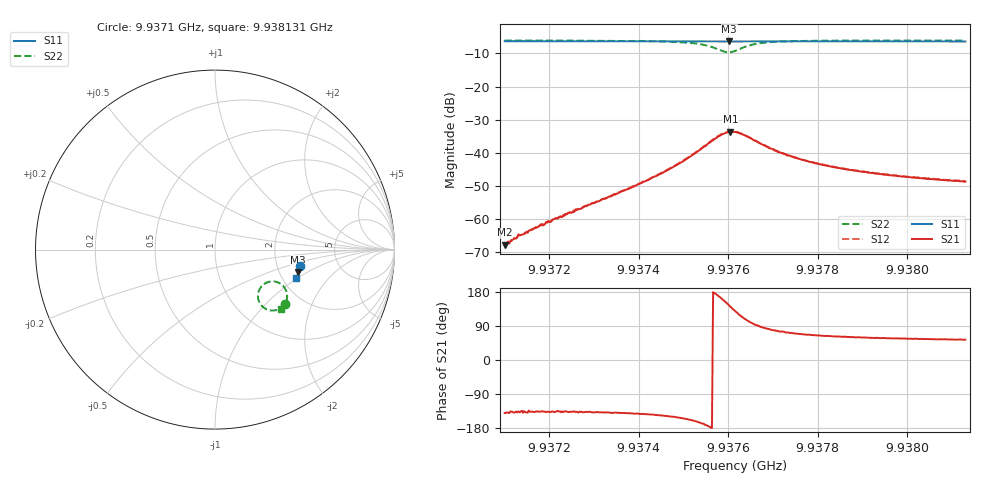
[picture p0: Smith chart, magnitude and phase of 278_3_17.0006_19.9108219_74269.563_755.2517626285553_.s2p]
#  HZ  S  RI  R  50.00
! Rohde & Schwarz Vector Network Analyzer
! Rohde-Schwarz,ZNB20-2Port,1311601062101988,3.16
! Created: UTC 3/20/2024, 11:04:35 PM
! freq[Hz]  re:S11  im:S11  re:S21  im:S21  re:S12  im:S12  re:S22  im:S22
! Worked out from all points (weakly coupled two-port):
!   401 points, 9.9371 GHz to 9.938131 GHz, reference 50 ohm
!   highest |S21| = -33.61 dB at 9.937605 GHz (marker M1); lowest = -67.8 dB at 9.9371 GHz (marker M2)
!   lowest |S11| = -6.4 dB at 9.937602 GHz (marker M3), VSWR 2.84, Z = 126 - j41.5 ohm
!   |S11| at or under -10 dB: nowhere
!   |S22| runs from -9.6 to -6.1 dB; largest |S21 - S12| = 0.00088
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9.9371e9  0.4751 -0.0941  -0.000311 -0.000266  -0.000304 -0.000245  0.3925 -0.3049
9.9371335e9  0.4744 -0.0963  -0.000431 -0.000388  -0.000437 -0.000357  0.3901 -0.3072
9.9371464e9  0.4742 -0.0973  -0.000466 -0.000425  -0.000456 -0.000405  0.3892 -0.308
9.9371593e9  0.4741 -0.098  -0.000505 -0.000483  -0.000492 -0.000482  0.3882 -0.3093
9.9371928e9  0.4733 -0.1004  -0.000667 -0.000613  -0.000642 -0.000604  0.3855 -0.3119
9.9372726e9  0.4719 -0.1058  -0.00106 -0.00101  -0.00108 -0.00101  0.3776 -0.3184
9.9373834e9  0.4695 -0.1132  -0.00232 -0.00188  -0.00239 -0.00189  0.3613 -0.3291
9.9374452e9  0.4681 -0.1174  -0.00391 -0.00265  -0.00399 -0.00263  0.345 -0.336
9.9374993e9  0.4668 -0.1212  -0.00673 -0.00327  -0.00693 -0.00325  0.3185 -0.3395
9.9375457e9  0.465 -0.1241  -0.0121 -0.00245  -0.0124 -0.00212  0.2751 -0.3257
9.9375792e9  0.4635 -0.1259  -0.0174 0.00379  -0.0177 0.00425  0.24 -0.2703
9.9375895e9  0.4633 -0.1261  -0.018 0.00734  -0.0181 0.00799  0.2408 -0.2408
9.9376024e9  0.4628 -0.1264  -0.0166 0.0122  -0.0164 0.013  0.2593 -0.2046
9.937605e9  0.4629 -0.1264  -0.0161 0.0133  -0.0159 0.0138  0.2651 -0.1986
9.9376153e9  0.463 -0.1266  -0.0133 0.0159  -0.0128 0.0165  0.2934 -0.1816
9.9376436e9  0.4634 -0.1281  -0.00414 0.017  -0.00365 0.0173  0.3645 -0.19
9.9376745e9  0.4632 -0.1303  0.00063 0.0135  0.001 0.0137  0.3951 -0.2262
9.9377286e9  0.4625 -0.1345  0.0029 0.00899  0.00303 0.00902  0.4016 -0.2675
9.9377879e9  0.461 -0.1386  0.00295 0.00656  0.00309 0.00653  0.3965 -0.2898
9.9378678e9  0.4592 -0.144  0.00274 0.00487  0.00287 0.00488  0.3886 -0.3059
9.9379605e9  0.4569 -0.15  0.00247 0.00389  0.00259 0.00388  0.3807 -0.3177
9.9381305e9  0.4524 -0.161  0.00217 0.00297  0.0023 0.00299  0.3684 -0.3324
